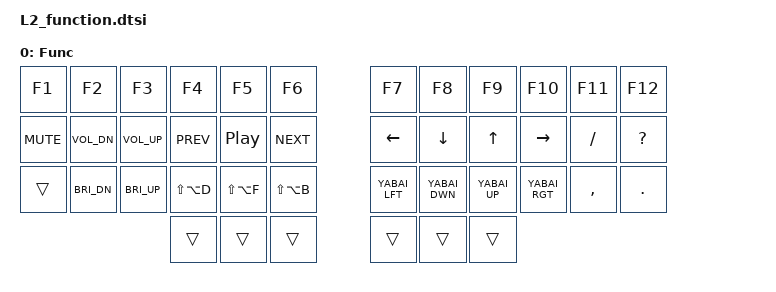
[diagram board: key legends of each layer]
/**
 * Function, Media, and Navigation Layer
 * Includes function keys, media controls, and arrow keys
 */

/ {
  keymap {
    compatible = "zmk,keymap";

    fn_layer {
      display-name = "Func";
      bindings = <
// ╭───────────────┬───────────────┬───────────────┬───────────────┬───────────────┬───────────────╮   ╭───────────────┬───────────────┬───────────────┬───────────────┬───────────────┬───────────────╮
// │0              │1              │2              │3              │4              │5              │   │6              │7              │8              │9              │10             │11             │
    &kp F1          &kp F2          &kp F3          &kp F4          &kp F5          &kp F6              &kp F7          &kp F8          &kp F9          &kp F10         &kp F11         &kp F12
// ├───────────────├───────────────┼───────────────┼───────────────┼───────────────┼───────────────┤   ├───────────────├───────────────┼───────────────┼───────────────┼───────────────┼───────────────┤
// │12             │13             │14             │15             │16             │17             │   │18             │19             │20             │21             │22             │23             │
    &kp C_MUTE      &kp C_VOL_DN    &kp C_VOL_UP    &kp C_PREV      &kp C_PP        &kp C_NEXT          &kp LEFT        &kp DOWN        &kp UP          &kp RIGHT       &kp SLASH       &kp QUESTION
// ├───────────────├───────────────┼───────────────┼───────────────┼───────────────┼───────────────┤   ├───────────────├───────────────┼───────────────┼───────────────┼───────────────┼───────────────┤
// │24             │25             │26             │27  kill window│28  fullscreen │29  balance yabai  │30             │31             │32             │33             │34             │35             │
    &trans          &kp C_BRI_DN    &kp C_BRI_UP    &kp LS(LA(D))   &kp LS(LA(F))   &kp LS(LA(B))       &kp YABAI_LFT   &kp YABAI_DWN   &kp YABAI_UP    &kp YABAI_RGT   &kp COMMA       &kp DOT
// ╰───────────────┴───────────────┴───────────────┼───────────────┼───────────────┼───────────────┤   ├───────────────├───────────────┼───────────────┼───────────────┴───────────────┴───────────────╯
//                                                 │36             │37             │38             │   │39             │40             │41             │
                                                    &trans          &trans          &trans              &trans          &trans          &trans
//                                                 ╰───────────────┴───────────────┴───────────────╯   ╰───────────────┴───────────────┴───────────────╯
      >;
    };
  };
};
